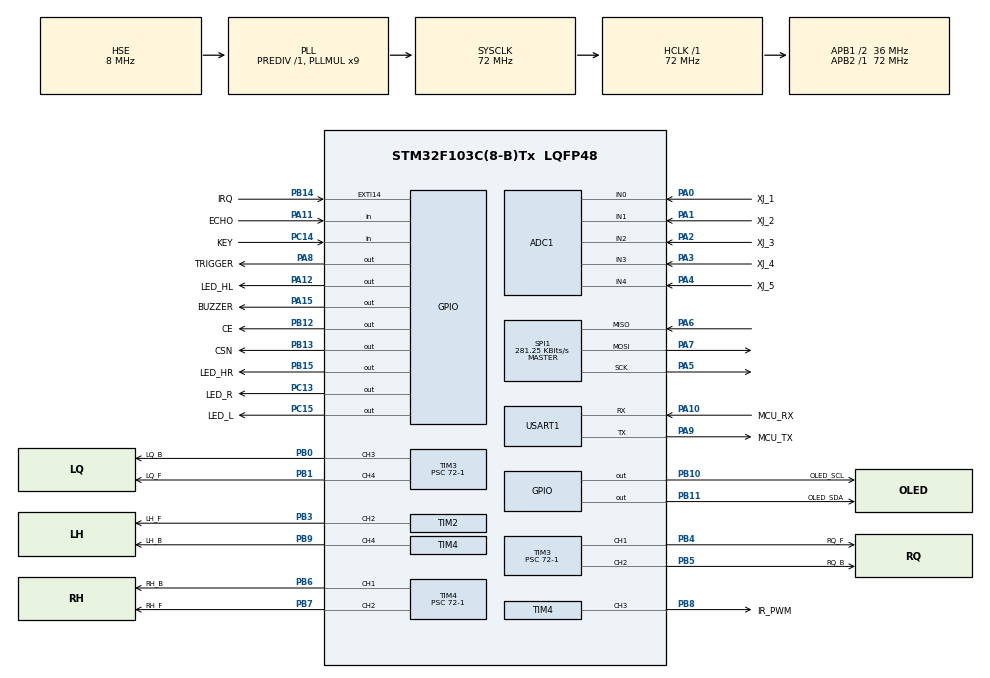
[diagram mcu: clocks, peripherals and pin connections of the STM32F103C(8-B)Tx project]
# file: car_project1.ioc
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ADC1.Channel-0\#ChannelRegularConversion=ADC_CHANNEL_0
ADC1.Channel-1\#ChannelRegularConversion=ADC_CHANNEL_1
ADC1.Channel-2\#ChannelRegularConversion=ADC_CHANNEL_2
ADC1.Channel-3\#ChannelRegularConversion=ADC_CHANNEL_3
ADC1.Channel-4\#ChannelRegularConversion=ADC_CHANNEL_4
ADC1.ContinuousConvMode=DISABLE
ADC1.NbrOfConversion=5
ADC1.NbrOfConversionFlag=1
ADC1.Rank-0\#ChannelRegularConversion=1
ADC1.Rank-1\#ChannelRegularConversion=2
ADC1.Rank-2\#ChannelRegularConversion=3
ADC1.Rank-3\#ChannelRegularConversion=4
ADC1.Rank-4\#ChannelRegularConversion=5
ADC1.SamplingTime-0\#ChannelRegularConversion=ADC_SAMPLETIME_55CYCLES_5
ADC1.SamplingTime-1\#ChannelRegularConversion=ADC_SAMPLETIME_55CYCLES_5
ADC1.SamplingTime-2\#ChannelRegularConversion=ADC_SAMPLETIME_55CYCLES_5
ADC1.SamplingTime-3\#ChannelRegularConversion=ADC_SAMPLETIME_55CYCLES_5
ADC1.SamplingTime-4\#ChannelRegularConversion=ADC_SAMPLETIME_55CYCLES_5
ADC1.master=1
Dma.ADC1.0.Direction=DMA_PERIPH_TO_MEMORY
Dma.ADC1.0.Instance=DMA1_Channel1
Dma.ADC1.0.MemDataAlignment=DMA_MDATAALIGN_HALFWORD
Dma.ADC1.0.MemInc=DMA_MINC_ENABLE
Dma.ADC1.0.Mode=DMA_CIRCULAR
Dma.ADC1.0.PeriphDataAlignment=DMA_PDATAALIGN_HALFWORD
Dma.ADC1.0.PeriphInc=DMA_PINC_DISABLE
Dma.ADC1.0.Priority=DMA_PRIORITY_LOW
Dma.Request0=ADC1
FREERTOS.Tasks01=sensor,0,128,Start_sensor,As weak,NULL,Dynamic,NULL,NULL;chassis_task,0,128,Start_chassis,As weak,NULL,Dynamic,NULL,NULL
FREERTOS.configUSE_NEWLIB_REENTRANT=0
Mcu.Family=STM32F1
Mcu.Name=STM32F103C(8-B)Tx
Mcu.Package=LQFP48
NVIC.DMA1_Channel1_IRQn=true\:5\:0\:false\:false\:true\:true\:false\:true\:true
NVIC.PriorityGroup=NVIC_PRIORITYGROUP_4
NVIC.TIM1_UP_IRQn=true\:15\:0\:false\:false\:true\:false\:false\:true\:true
NVIC.TIM2_IRQn=true\:5\:0\:false\:false\:true\:true\:true\:true\:true
NVIC.TimeBase=TIM1_UP_IRQn
NVIC.TimeBaseIP=TIM1
PA0-WKUP.GPIO_Label=XJ_1
PA0-WKUP.Signal=ADCx_IN0
PA1.GPIO_Label=XJ_2
PA1.Signal=ADCx_IN1
PA10.GPIO_Label=MCU_RX
PA10.Mode=Asynchronous
PA10.Signal=USART1_RX
PA11.GPIO_Label=ECHO
PA11.Signal=GPIO_Input
PA12.GPIO_Label=LED_HL
PA12.Signal=GPIO_Output
PA13.Mode=Serial_Wire
PA13.Signal=SYS_JTMS-SWDIO
PA14.Mode=Serial_Wire
PA14.Signal=SYS_JTCK-SWCLK
PA15.GPIO_Label=BUZZER
PA15.Signal=GPIO_Output
PA2.GPIO_Label=XJ_3
PA2.Signal=ADCx_IN2
PA3.GPIO_Label=XJ_4
PA3.Signal=ADCx_IN3
PA4.GPIO_Label=XJ_5
PA4.Signal=ADCx_IN4
PA5.Mode=Full_Duplex_Master
PA5.Signal=SPI1_SCK
PA6.Mode=Full_Duplex_Master
PA6.Signal=SPI1_MISO
PA7.Mode=Full_Duplex_Master
PA7.Signal=SPI1_MOSI
PA8.GPIO_Label=TRIGGER
PA8.Signal=GPIO_Output
PA9.GPIO_Label=MCU_TX
PA9.Mode=Asynchronous
PA9.Signal=USART1_TX
PB0.GPIO_Label=LQ_B
PB0.Signal=S_TIM3_CH3
PB1.GPIO_Label=LQ_F
PB1.Signal=S_TIM3_CH4
PB10.GPIO_Label=OLED_SCL
PB10.Signal=GPIO_Output
PB11.GPIO_Label=OLED_SDA
PB11.Signal=GPIO_Output
PB12.GPIO_Label=CE
PB12.Signal=GPIO_Output
PB13.GPIO_Label=CSN
PB13.Signal=GPIO_Output
PB14.GPIO_Label=IRQ
PB14.Signal=GPXTI14
PB15.GPIO_Label=LED_HR
PB15.Signal=GPIO_Output
PB3.GPIO_Label=LH_F
PB3.Signal=S_TIM2_CH2
PB4.GPIO_Label=RQ_F
PB4.Signal=S_TIM3_CH1
PB5.GPIO_Label=RQ_B
PB5.Signal=S_TIM3_CH2
PB6.GPIO_Label=RH_B
PB6.Signal=S_TIM4_CH1
PB7.GPIO_Label=RH_F
PB7.Signal=S_TIM4_CH2
PB8.GPIO_Label=IR_PWM
PB8.Signal=S_TIM4_CH3
PB9.GPIO_Label=LH_B
PB9.Signal=S_TIM4_CH4
PC13-TAMPER-RTC.GPIO_Label=LED_R
PC13-TAMPER-RTC.Signal=GPIO_Output
PC14-OSC32_IN.GPIO_Label=KEY
PC14-OSC32_IN.Signal=GPIO_Input
PC15-OSC32_OUT.GPIO_Label=LED_L
PC15-OSC32_OUT.Signal=GPIO_Output
PD0-OSC_IN.Mode=HSE-External-Oscillator
PD0-OSC_IN.Signal=RCC_OSC_IN
PD1-OSC_OUT.Mode=HSE-External-Oscillator
PD1-OSC_OUT.Signal=RCC_OSC_OUT
ProjectManager.HeapSize=0x200
ProjectManager.StackSize=0x400
ProjectManager.TargetToolchain=STM32CubeIDE
RCC.ADCPresc=RCC_ADCPCLK2_DIV6
RCC.AHBFreq_Value=72000000
RCC.APB1CLKDivider=RCC_HCLK_DIV2
RCC.APB1Freq_Value=36000000
RCC.APB1TimFreq_Value=72000000
RCC.APB2Freq_Value=72000000
RCC.APB2TimFreq_Value=72000000
RCC.HCLKFreq_Value=72000000
RCC.PLLMUL=RCC_PLL_MUL9
RCC.PLLSourceVirtual=RCC_PLLSOURCE_HSE
RCC.SYSCLKFreq_VALUE=72000000
RCC.SYSCLKSource=RCC_SYSCLKSOURCE_PLLCLK
RCC.USBFreq_Value=72000000
SH.ADCx_IN0.0=ADC1_IN0,IN0
SH.ADCx_IN1.0=ADC1_IN1,IN1
SH.ADCx_IN2.0=ADC1_IN2,IN2
SH.ADCx_IN3.0=ADC1_IN3,IN3
SH.ADCx_IN4.0=ADC1_IN4,IN4
SH.S_TIM2_CH2.0=TIM2_CH2,PWM Generation2 CH2
SH.S_TIM3_CH1.0=TIM3_CH1,PWM Generation1 CH1
SH.S_TIM3_CH2.0=TIM3_CH2,PWM Generation2 CH2
SH.S_TIM3_CH3.0=TIM3_CH3,PWM Generation3 CH3
SH.S_TIM3_CH4.0=TIM3_CH4,PWM Generation4 CH4
SH.S_TIM4_CH1.0=TIM4_CH1,PWM Generation1 CH1
SH.S_TIM4_CH2.0=TIM4_CH2,PWM Generation2 CH2
SH.S_TIM4_CH3.0=TIM4_CH3,PWM Generation3 CH3
SH.S_TIM4_CH4.0=TIM4_CH4,PWM Generation4 CH4
SPI1.BaudRatePrescaler=SPI_BAUDRATEPRESCALER_256
SPI1.CalculateBaudRate=281.25 KBits/s
SPI1.Direction=SPI_DIRECTION_2LINES
SPI1.Mode=SPI_MODE_MASTER
SPI1.VirtualType=VM_MASTER
TIM2.Channel-PWM\ Generation2\ CH2=TIM_CHANNEL_2
TIM2.Period=100-1
TIM2.Prescaler=72-1
TIM3.Channel-PWM\ Generation1\ CH1=TIM_CHANNEL_1
TIM3.Channel-PWM\ Generation2\ CH2=TIM_CHANNEL_2
TIM3.Channel-PWM\ Generation3\ CH3=TIM_CHANNEL_3
TIM3.Channel-PWM\ Generation4\ CH4=TIM_CHANNEL_4
TIM3.Period=100-1
TIM3.Prescaler=72-1
TIM4.Channel-PWM\ Generation1\ CH1=TIM_CHANNEL_1
TIM4.Channel-PWM\ Generation2\ CH2=TIM_CHANNEL_2
TIM4.Channel-PWM\ Generation3\ CH3=TIM_CHANNEL_3
TIM4.Channel-PWM\ Generation4\ CH4=TIM_CHANNEL_4
TIM4.Period=100-1
TIM4.Prescaler=72-1
USART1.VirtualMode=VM_ASYNC
VP_FREERTOS_VS_CMSIS_V1.Mode=CMSIS_V1
VP_SYS_VS_tim1.Mode=TIM1
board=custom

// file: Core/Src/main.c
/* USER CODE BEGIN Header */
/**
  ******************************************************************************
  * @file           : main.c
  * @brief          : Main program body
  ******************************************************************************
  * @attention
  *
  * Copyright (c) 2026 STMicroelectronics.
  * All rights reserved.
  *
  * This software is licensed under terms that can be found in the LICENSE file
  * in the root directory of this software component.
  * If no LICENSE file comes with this software, it is provided AS-IS.
  *
  ******************************************************************************
  */
/* USER CODE END Header */
#include "main.h"
#include "cmsis_os.h"
#include "adc.h"
#include "dma.h"
#include "spi.h"
#include "tim.h"
#include "usart.h"
#include "gpio.h"

/* USER CODE BEGIN Includes */
#include "module.h"
/* USER CODE END Includes */

void SystemClock_Config(void);
void MX_FREERTOS_Init(void);

int main(void)
{

  /* MCU Configuration--------------------------------------------------------*/

  /* Reset of all peripherals, Initializes the Flash interface and the Systick. */
  HAL_Init();

  /* Configure the system clock */
  SystemClock_Config();

  /* Initialize all configured peripherals */
  MX_GPIO_Init();
  MX_DMA_Init();
  MX_SPI1_Init();
  MX_TIM2_Init();
  MX_TIM3_Init();
  MX_TIM4_Init();
  MX_USART1_UART_Init();
  MX_ADC1_Init();
  /* USER CODE BEGIN 2 */
    HAL_ADCEx_Calibration_Start(&hadc1);    //AD校准
    //pwm生成启动
    HAL_TIM_PWM_Start(&htim2,TIM_CHANNEL_1);
    HAL_TIM_PWM_Start(&htim2,TIM_CHANNEL_2);

    HAL_TIM_PWM_Start(&htim3,TIM_CHANNEL_1);
    HAL_TIM_PWM_Start(&htim3,TIM_CHANNEL_2);
    HAL_TIM_PWM_Start(&htim3,TIM_CHANNEL_3);
    HAL_TIM_PWM_Start(&htim3,TIM_CHANNEL_4);

    HAL_TIM_PWM_Start(&htim4,TIM_CHANNEL_1);
    HAL_TIM_PWM_Start(&htim4,TIM_CHANNEL_2);
    HAL_TIM_PWM_Start(&htim4,TIM_CHANNEL_3);
    HAL_TIM_PWM_Start(&htim4,TIM_CHANNEL_4);

    dwt_init(72);
//    OLED_Init(); //
    Key_Init(); // 初始化按键
//    OLED_Clear();
  /* USER CODE END 2 */

  /* Call init function for freertos objects (in cmsis_os2.c) */
  MX_FREERTOS_Init();

  /* Start scheduler */
  osKernelStart();

  /* We should never get here as control is now taken by the scheduler */

  /* Infinite loop */
  while (1)
  {

  }
}

void SystemClock_Config(void)
{
  RCC_OscInitTypeDef RCC_OscInitStruct = {0};
  RCC_ClkInitTypeDef RCC_ClkInitStruct = {0};
  RCC_PeriphCLKInitTypeDef PeriphClkInit = {0};

  /** Initializes the RCC Oscillators according to the specified parameters
  * in the RCC_OscInitTypeDef structure.
  */
  RCC_OscInitStruct.OscillatorType = RCC_OSCILLATORTYPE_HSE;
  RCC_OscInitStruct.HSEState = RCC_HSE_ON;
  RCC_OscInitStruct.HSEPredivValue = RCC_HSE_PREDIV_DIV1;
  RCC_OscInitStruct.HSIState = RCC_HSI_ON;
  RCC_OscInitStruct.PLL.PLLState = RCC_PLL_ON;
  RCC_OscInitStruct.PLL.PLLSource = RCC_PLLSOURCE_HSE;
  RCC_OscInitStruct.PLL.PLLMUL = RCC_PLL_MUL9;
  if (HAL_RCC_OscConfig(&RCC_OscInitStruct) != HAL_OK)
  {
    Error_Handler();
  }

  /** Initializes the CPU, AHB and APB buses clocks
  */
  RCC_ClkInitStruct.ClockType = RCC_CLOCKTYPE_HCLK|RCC_CLOCKTYPE_SYSCLK
                              |RCC_CLOCKTYPE_PCLK1|RCC_CLOCKTYPE_PCLK2;
  RCC_ClkInitStruct.SYSCLKSource = RCC_SYSCLKSOURCE_PLLCLK;
  RCC_ClkInitStruct.AHBCLKDivider = RCC_SYSCLK_DIV1;
  RCC_ClkInitStruct.APB1CLKDivider = RCC_HCLK_DIV2;
  RCC_ClkInitStruct.APB2CLKDivider = RCC_HCLK_DIV1;

  if (HAL_RCC_ClockConfig(&RCC_ClkInitStruct, FLASH_LATENCY_2) != HAL_OK)
  {
    Error_Handler();
  }
  PeriphClkInit.PeriphClockSelection = RCC_PERIPHCLK_ADC;
  PeriphClkInit.AdcClockSelection = RCC_ADCPCLK2_DIV6;
  if (HAL_RCCEx_PeriphCLKConfig(&PeriphClkInit) != HAL_OK)
  {
    Error_Handler();
  }
}

void HAL_TIM_PeriodElapsedCallback(TIM_HandleTypeDef *htim)
{
  if (htim->Instance == TIM1)
  {
    HAL_IncTick();
  }
}

void Error_Handler(void)
{
  __disable_irq();
  while (1)
  {
  }
}

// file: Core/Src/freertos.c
/* USER CODE BEGIN Header */
/**
  ******************************************************************************
  * File Name          : freertos.c
  * Description        : Code for freertos applications
  ******************************************************************************
  * @attention
  *
  * Copyright (c) 2026 STMicroelectronics.
  * All rights reserved.
  *
  * This software is licensed under terms that can be found in the LICENSE file
  * in the root directory of this software component.
  * If no LICENSE file comes with this software, it is provided AS-IS.
  *
  ******************************************************************************
  */
/* USER CODE END Header */

#include <stdlib.h>
#include "FreeRTOS.h"
#include "task.h"
#include "main.h"
#include "cmsis_os.h"

/* USER CODE BEGIN Includes */
#include "module.h"
#include "tim.h"
#include "adc.h"
/* USER CODE END Includes */

osThreadId sensorHandle;
osThreadId chassis_taskHandle;

void Start_sensor(void const * argument);
void Start_chassis(void const * argument);

void MX_FREERTOS_Init(void); /* (MISRA C 2004 rule 8.1) */

/* GetIdleTaskMemory prototype (linked to static allocation support) */
void vApplicationGetIdleTaskMemory( StaticTask_t **ppxIdleTaskTCBBuffer, StackType_t **ppxIdleTaskStackBuffer, uint32_t *pulIdleTaskStackSize );

/* USER CODE BEGIN GET_IDLE_TASK_MEMORY */
static StaticTask_t xIdleTaskTCBBuffer;
static StackType_t xIdleStack[configMINIMAL_STACK_SIZE];

void vApplicationGetIdleTaskMemory( StaticTask_t **ppxIdleTaskTCBBuffer, StackType_t **ppxIdleTaskStackBuffer, uint32_t *pulIdleTaskStackSize )
{
  *ppxIdleTaskTCBBuffer = &xIdleTaskTCBBuffer;
  *ppxIdleTaskStackBuffer = &xIdleStack[0];
  *pulIdleTaskStackSize = configMINIMAL_STACK_SIZE;
  /* place for user code */
}
/* USER CODE END GET_IDLE_TASK_MEMORY */

void MX_FREERTOS_Init(void) {

  /* Create the thread(s) */
  /* definition and creation of sensor */
  osThreadDef(sensor, Start_sensor, osPriorityAboveNormal, 0, 128);
  sensorHandle = osThreadCreate(osThread(sensor), NULL);

  /* definition and creation of chassis_task */
  osThreadDef(chassis_task, Start_chassis, osPriorityNormal, 0, 128);
  chassis_taskHandle = osThreadCreate(osThread(chassis_task), NULL);

}

/* USER CODE BEGIN Header_Start_sensor */
/***********value define*************************/
static uint16_t ADC_Value[5];/*循迹模块adc采样*/
static uint16_t distance;/*测距距离*/
static float Basic_vel;

// 全局PID句柄（用于循迹转向控制）
PID_HandleTypeDef track_pid = {0};
static uint8_t detect_current;/*每路是否识别到黑线*/
bool detect_detect_lost;

static float detect_value_current;/*由寻迹模块得到的权重*/
static float detect_value_current_last;
static uint8_t track_status_worse;
static float target_value;/*设置的目标值*/

void Detection_val_calc(uint16_t* adc_value);/*计算寻迹权重*/

/*权重从左到右 : -4 -1 0 1 4*/
#define ADC_HRESHOLD_VALUE_MID 1600//1620  //判断是否寻到线的ADC阈值
#define ADC_HRESHOLD_VALUE_OUT2 1600//1620  //判断是否寻到线的ADC阈值
#define ADC_HRESHOLD_VALUE_OUT1 1600//1620  //判断是否寻到线的ADC阈值

#define ADC_OUT2_VALUE  6.0f   //对称最外侧的两个光电管寻到黑线
#define ADC_OUT1_VALUE  4.0f   //对称次外侧的两个光电管寻到黑线
#define ADC_MID_VALUE  0.0f     //中间寻到黑

#define DISTANCE_TARGET  15 //避震距离
static int distance_cnt;

static float obstacle_start_ms;/*避障开始时间*/
bool obstacle_turn1_flag;
bool obstacle_turn2_flag;
bool obstacle_turn3_flag;
static float obstacle_turn1_delta_ms;
#define OBSTACLE_TURN1_DELTA 400.0f   //0.5S

static float obstacle_turn2_start_ms;
static float obstacle_turn2_delta_ms;
#define OBSTACLE_TURN2_DELTA 1200.0f  //0.5S

static float obstacle_turn3_start_ms;
static float obstacle_turn3_delta_ms;
#define OBSTACLE_TURN3_DELTA 1600.0f   //0.5S

static float obstacle_turn4_start_ms;
static float obstacle_turn4_delta_ms;
#define OBSTACLE_TURN4_DELTA 0.0f   //0.5S

static float obstacle_finish_start_ms;
static float obstacle_finish_delta_ms;

bool obstacle_flag;
bool obstacle_finish_flag;/*完成避障标志位,给后退用*/

void obstacle_avoid(void);

uint16_t ADC_NORMAL_VALUE = ADC_OUT2_VALUE+ADC_OUT1_VALUE;

bool move_start_flag;/*开始循迹标志位*/
static int move_stop_flag;/*开始循迹标志位*/
static uint32_t detect_all_black_ms = 0;        /* 全黑识别消抖时间戳 */
#define DETECT_ALL_BLACK_DEBOUNCE_MS  20        /* 全黑需稳定持续 20ms 才认为有效 */
bool car_stop_flag;

volatile int left_speed = 0;
volatile int right_speed = 0;
/************************************/
/**
* @brief Function implementing the sensor thread.
* @param argument: Not used
* @retval None
*/
/* USER CODE END Header_Start_sensor */
__weak void Start_sensor(void const * argument)
{
  /* USER CODE BEGIN Start_sensor */
    static bool music_triggered = false;     /* 确保 Music_Play_Start 只调一次 */
    Key_Init();
    __HAL_TIM_SET_COMPARE(&htim4, TIM_CHANNEL_3, 60);//开启循迹模块
  /* Infinite loop */
  for(;;)
  {
      Key_Update();
      /* ---- SR04 超声波测距 ---- */
      distance = SR04_Measure();
      /*************寻迹ADC采样****************/
      HAL_ADC_Start_DMA(&hadc1,(uint32_t *)ADC_Value,5);
      Detection_val_calc(ADC_Value);
      /* 首次 move_start_flag == 1 时启动非阻塞音乐 */
      if(move_start_flag == 1 && !music_triggered){
          music_triggered = true;
          Music_Play_Start(Spirited_Away, SPIRITED_AWAY_LEN, 1);
      }

      /* 非阻塞音乐更新（每 loop 调一次，不忙等，不阻塞其他任务） */
      Music_Play_Update();

    osDelay(1);
  }
  /* USER CODE END Start_sensor */
}

__weak void Start_chassis(void const * argument)
{
  /* USER CODE BEGIN Start_chassis */
    pid_init(&track_pid);
    target_value = 0.0f;
    Basic_vel = 50.0f;
    Key_Init();
    __HAL_TIM_SET_COMPARE(&htim4, TIM_CHANNEL_3, 60);//开启循迹模块
  /* Infinite loop */
  for(;;)
  {
//      /* ---- SR04 超声波测距 ---- */
//      distance = SR04_Measure();
//      /*************寻迹ADC采样****************/
//      HAL_ADC_Start_DMA(&hadc1,(uint32_t *)ADC_Value,5);
//      Detection_val_calc(ADC_Value);

      if(Key1.state == KEY_PRESSED && move_start_flag == 0){/*开始循迹*/
          move_start_flag = 1;
      }

      if(abs(distance - DISTANCE_TARGET) < 4){
          distance_cnt++;
          if(distance_cnt > 4){
              obstacle_flag = 1;//开始避障
              obstacle_start_ms = dwt_get_time_ms() ;/*记录开始避障的时间戳*/
              pid_clear(&track_pid);
          }
      }else{
          distance_cnt = 0;
      }

//      OLED_ShowNum(1,1,obstacle_finish_flag,1);
      if(obstacle_flag == 0){
          if(car_stop_flag == 0){
              if(move_start_flag == 1 ){
                  pid_calculate(&track_pid, detect_value_current);
                  left_speed = (int)(Basic_vel + track_pid.output);
                  right_speed = (int)(Basic_vel - track_pid.output);
                  Car_direction_change(Basic_vel,left_speed,right_speed,(int)track_pid.output);
              }

              if(move_start_flag == 1 && detect_detect_lost == 1){
                  Car_move(-45);
              }
              if(move_stop_flag > 3 ){
                  car_stop_flag = 1;
              }
          }else{
              Car_move(0);
          }
      }else{

          obstacle_avoid();
      }

    osDelay(1);
  }
  /* USER CODE END Start_chassis */
}

/* USER CODE BEGIN Application */
void Detection_val_calc(uint16_t *adc_value)
{
    /* === 1. 比较结果直接是 0/1，移位拼成 detect_current (无分支) ===
     * 原来 5 个 if + OR，每个都有分支跳转，改为一条表达式完成
     */
    detect_current = ((adc_value[2] > ADC_HRESHOLD_VALUE_OUT2) << 0)
                   | ((adc_value[4] > ADC_HRESHOLD_VALUE_OUT1) << 1)
                   | ((adc_value[3] > ADC_HRESHOLD_VALUE_MID)  << 2)
                   | ((adc_value[1] > ADC_HRESHOLD_VALUE_OUT1) << 3)
                   | ((adc_value[0] > ADC_HRESHOLD_VALUE_OUT2) << 4);

    if(obstacle_finish_flag == 1){
        obstacle_finish_delta_ms = dwt_get_time_ms() -  obstacle_finish_start_ms;
        if((obstacle_finish_delta_ms) < 2000){
            detect_detect_lost = (detect_current == 0x00);
        }else{
            detect_detect_lost = 0;
        }
    }

    if(detect_current == 0x1F){
        /* 首次检测到全黑 → 启动计时 */
        if(detect_all_black_ms == 0){
            detect_all_black_ms = dwt_get_time_ms();
        }
        /* 全黑稳定持续 >= 消抖时间 → 视为有效, 累加并重置计时 */
        if(dwt_get_time_ms() - detect_all_black_ms >= DETECT_ALL_BLACK_DEBOUNCE_MS){
            move_stop_flag++;
            detect_all_black_ms = dwt_get_time_ms();   // 防同一段黑线反复触发
        }
    }else{
        detect_all_black_ms = 0;   // 跳变 → 立即复位
        move_stop_flag = 0;
    }
    /* === 2. 偏差值查表 (O(1) 直接索引，替代 16 路 switch) ===
     * val_table[detect_current] 即得偏差值
     * 0 表示该传感器组合无效（查 result_table 对应标志位）
     */
    static const int8_t val_table[32] = {
    /* 0x00  0x01  0x02  0x03  0x04  0x05  0x06  0x07 */
         0,   -4,   -2,   -3,    0,    0,   -1,   -5,
    /* 0x08  0x09  0x0A  0x0B  0x0C  0x0D  0x0E  0x0F */
         2,    0,    0,    0,    1,    0,    0,   -6,
    /* 0x10  0x11  0x12  0x13  0x14  0x15  0x16  0x17 */
         4,    0,    0,    0,    0,    0,    0,    0,
    /* 0x18  0x19  0x1A  0x1B  0x1C  0x1D  0x1E  0x1F */
         3,    0,    0,    0,    5,    0,    6,   0,
    };
    /* 有效状态位图: bit i = 1 表示状态 i 有效 (0x04 值为 0 但有效) */
    static const uint32_t valid_map = 0xD10191FE;

    int8_t val = val_table[detect_current];
    if ((valid_map >> detect_current) & 1) {
        detect_value_current = val;
    } else {
        detect_value_current = detect_value_current_last;

    }
}
void obstacle_avoid(void){
    pid_calculate(&track_pid, 0);
    obstacle_turn1_delta_ms = dwt_get_time_ms() - obstacle_start_ms;/*记录转向1时间*/
    if((obstacle_turn1_delta_ms < OBSTACLE_TURN1_DELTA) && obstacle_turn1_flag==0){
        pid_calculate(&track_pid, 10);
        obstacle_turn2_start_ms = dwt_get_time_ms();
    }
    else{
        obstacle_turn1_flag = 1;
        obstacle_turn2_delta_ms = dwt_get_time_ms() - obstacle_turn2_start_ms;
        if((obstacle_turn2_delta_ms < OBSTACLE_TURN2_DELTA) && obstacle_turn2_flag == 0){
            pid_calculate(&track_pid, -10);
            obstacle_turn3_start_ms = dwt_get_time_ms();
        }
        else{
            obstacle_turn2_flag = 1;
            obstacle_turn3_delta_ms = dwt_get_time_ms() - obstacle_turn3_start_ms;
            if((obstacle_turn3_delta_ms < OBSTACLE_TURN3_DELTA) && obstacle_turn3_flag == 0){
                pid_calculate(&track_pid, 0);
                obstacle_turn4_start_ms = dwt_get_time_ms();
            }else
            {
                obstacle_turn3_flag = 1;
                obstacle_turn4_delta_ms = dwt_get_time_ms() - obstacle_turn4_start_ms;
                if(obstacle_turn4_delta_ms < OBSTACLE_TURN4_DELTA){
                    pid_calculate(&track_pid, 0);
                }
            }
        }
    }
    left_speed = (int)(Basic_vel + track_pid.output);
    right_speed = (int)(Basic_vel - track_pid.output);
    Car_direction_change(Basic_vel,left_speed,right_speed,(int)track_pid.output);

    if((detect_current > 0)&&(obstacle_turn1_flag == 1 &&obstacle_turn2_flag == 1 && obstacle_turn3_flag == 1)){/*避障完成后寻到线,继续进行巡线*/
        obstacle_flag = 0;
        obstacle_finish_flag = 1;
        obstacle_turn1_flag = 0;
        obstacle_turn2_flag = 0;
        obstacle_turn3_flag = 0;
        obstacle_finish_start_ms = dwt_get_time_ms();

    }
}
/* USER CODE END Application */
